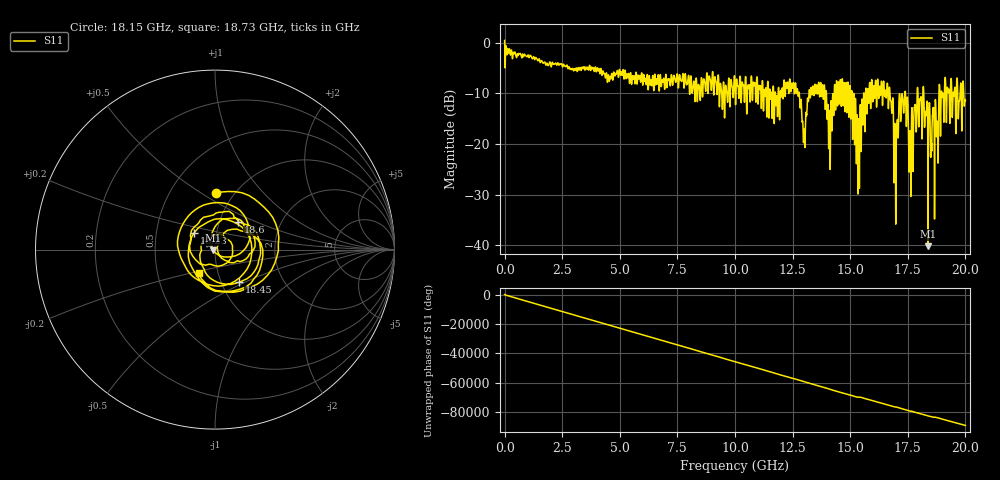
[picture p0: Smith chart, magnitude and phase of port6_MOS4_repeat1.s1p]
! MS46122B
! 2250307/22442219
! 7/24/2025 7:51:28 AM
! C:\USERS\SPARKY\DOCUMENTS\VNA_DATA\JULY24_2025\3K\PORT6_MOS4_REPEAT1.S1P
! CHANNEL.1
! TR.MEASUREMENT
! RAW.DATA
# GHZ S RI R 50.0
! FREQ.GHZ  S11RE  S11IM
!; PortSelection: Port_1
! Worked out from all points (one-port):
!   10001 points, 1 MHz to 20 GHz, reference 50 ohm
!   lowest |S11| = -40.1 dB at 18.38 GHz (marker M1), VSWR 1.02, Z = 49.1 - j0.418 ohm
!   |S11| at or under -10 dB: 15.08 GHz to 15.59 GHz (511.7 MHz wide, 3.34 % of centre); 16.73 GHz to 17.37 GHz (644.6 MHz wide, 3.78 % of centre); 18.19 GHz to 18.85 GHz (657.9 MHz wide, 3.55 % of centre) (the widest 3 of 89)
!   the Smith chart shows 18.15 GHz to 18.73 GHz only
!   S11 on the Smith chart (normalised r, x): 18.15 GHz: 0.83, +0.58; 18.23 GHz: 0.78, +0.15; 18.45 GHz: 1.22, -0.47; 18.6 GHz: 1.23, +0.39; 18.73 GHz: 0.81, -0.21
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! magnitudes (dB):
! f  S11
! 1 MHz  0.4
! 2.501 GHz  -4.7
! 5.001 GHz  -5.5
! 7.501 GHz  -6.3
! 10 GHz  -8.2
! 12.5 GHz  -9.0
! 13 GHz  -17.3
! 13.39 GHz  -8.6
! 13.8 GHz  -8.3
! 14.12 GHz  -20.2
! 14.41 GHz  -7.5
! 15 GHz  -9.4
! 15.34 GHz  -28.9
! 16.02 GHz  -8.5
! 16.68 GHz  -10.1
! 16.99 GHz  -27.2
! 17.2 GHz  -14.5
! 17.5 GHz  -11.9
! 17.64 GHz  -29.3
! 17.86 GHz  -15.8
! 18.15 GHz  -10.1
! 18.23 GHz  -16.5
! 18.38 GHz  -40.1
! 18.45 GHz  -12.9
! 18.6 GHz  -14.0
! 18.73 GHz  -16.0
! 19.05 GHz  -11.7
! 20 GHz  -11.5
